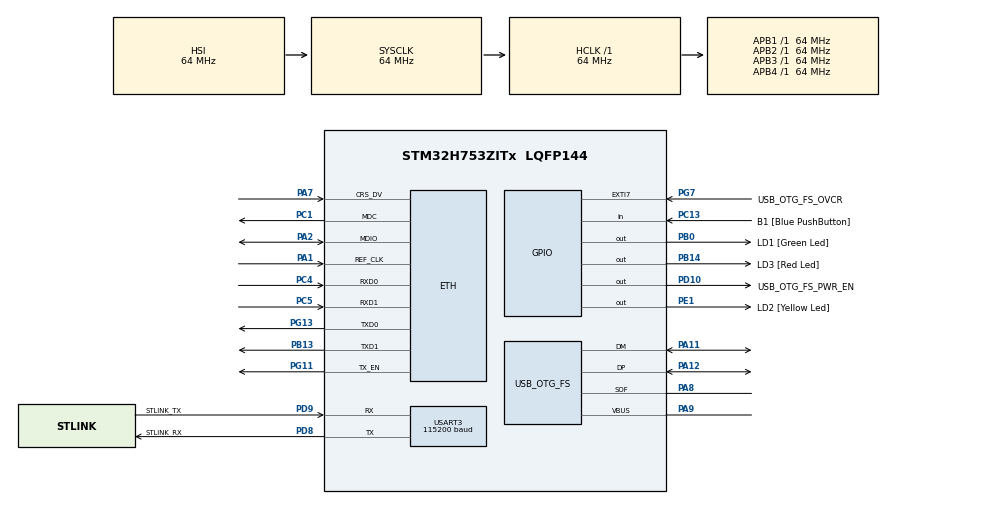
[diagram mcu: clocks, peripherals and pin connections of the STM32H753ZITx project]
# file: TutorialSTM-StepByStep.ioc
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CORTEX_M7.CPU_DCache=Disabled
CORTEX_M7.CPU_ICache=Disabled
CORTEX_M7.MPU_Control=__NULL
ETH.ETH_RX_DESC_CNT=4
ETH.ETH_TX_DESC_CNT=4
ETH.MACAddr=00\:80\:E1\:00\:00\:00
ETH.MediaInterface=HAL_ETH_RMII_MODE
ETH.RxBuffAddress=0x30040200
ETH.RxBuffLen=1524
ETH.RxDescAddress=0x30040000
ETH.TxDescAddress=0x30040060
Mcu.Family=STM32H7
Mcu.Name=STM32H753ZITx
Mcu.Package=LQFP144
NVIC.PriorityGroup=NVIC_PRIORITYGROUP_4
PA1.Mode=RMII
PA1.Signal=ETH_REF_CLK
PA11.Mode=Device_Only
PA11.Signal=USB_OTG_FS_DM
PA12.Mode=Device_Only
PA12.Signal=USB_OTG_FS_DP
PA2.Mode=RMII
PA2.Signal=ETH_MDIO
PA7.Mode=RMII
PA7.Signal=ETH_CRS_DV
PA8.Mode=Activate_SOF_FS
PA8.Signal=USB_OTG_FS_SOF
PA9.Mode=Activate_VBUS
PA9.Signal=USB_OTG_FS_VBUS
PB0.GPIO_Label=LD1 [Green Led]
PB0.Signal=GPIO_Output
PB13.Mode=RMII
PB13.Signal=ETH_TXD1
PB14.GPIO_Label=LD3 [Red Led]
PB14.Signal=GPIO_Output
PC1.Mode=RMII
PC1.Signal=ETH_MDC
PC13.GPIO_Label=B1 [Blue PushButton]
PC13.Signal=GPIO_Input
PC14-OSC32_IN\ (OSC32_IN).Mode=LSE-External-Oscillator
PC14-OSC32_IN\ (OSC32_IN).Signal=RCC_OSC32_IN
PC15-OSC32_OUT\ (OSC32_OUT).Mode=LSE-External-Oscillator
PC15-OSC32_OUT\ (OSC32_OUT).Signal=RCC_OSC32_OUT
PC4.Mode=RMII
PC4.Signal=ETH_RXD0
PC5.Mode=RMII
PC5.Signal=ETH_RXD1
PD10.GPIO_Label=USB_OTG_FS_PWR_EN
PD10.Signal=GPIO_Output
PD8.GPIO_Label=STLINK_RX
PD8.Mode=Asynchronous
PD8.Signal=USART3_TX
PD9.GPIO_Label=STLINK_TX
PD9.Mode=Asynchronous
PD9.Signal=USART3_RX
PE1.GPIO_Label=LD2 [Yellow Led]
PE1.Signal=GPIO_Output
PG11.Mode=RMII
PG11.Signal=ETH_TX_EN
PG13.Mode=RMII
PG13.Signal=ETH_TXD0
PG7.GPIO_Label=USB_OTG_FS_OVCR
PG7.Signal=GPXTI7
PH0-OSC_IN\ (PH0).Mode=HSE-External-Clock-Source
PH0-OSC_IN\ (PH0).Signal=RCC_OSC_IN
PH1-OSC_OUT\ (PH1).Signal=RCC_OSC_OUT
ProjectManager.HeapSize=0x200
ProjectManager.StackSize=0x400
ProjectManager.TargetToolchain=STM32CubeIDE
RCC.ADCFreq_Value=16125000
RCC.APB1Freq_Value=64000000
RCC.APB2Freq_Value=64000000
RCC.APB3Freq_Value=64000000
RCC.APB4Freq_Value=64000000
RCC.CortexFreq_Value=64000000
RCC.DIVM1=1
RCC.DIVN1=24
RCC.DIVQ1=4
RCC.HCLKFreq_Value=64000000
RCC.HSE_VALUE=8000000
RCC.PLLFRACN=0
RCC.PWR_Regulator_Voltage_Scale=PWR_REGULATOR_VOLTAGE_SCALE2
RCC.SYSCLKFreq_VALUE=64000000
RCC.USBFreq_Value=48000000
USART3.AutoBaudRateEnableParam=UART_ADVFEATURE_AUTOBAUDRATE_DISABLE
USART3.BaudRate=115200
USART3.ClockPrescaler=PRESCALER_DIV1
USART3.DMADisableonRxErrorParam=ADVFEATURE_DMA_ENABLEONRXERROR
USART3.DataInvertParam=ADVFEATURE_DATAINV_DISABLE
USART3.FIFOMode=FIFOMODE_DISABLE
USART3.MSBFirstParam=ADVFEATURE_MSBFIRST_DISABLE
USART3.Mode=MODE_TX_RX
USART3.OneBitSampling=UART_ONE_BIT_SAMPLE_DISABLE
USART3.OverSampling=UART_OVERSAMPLING_16
USART3.OverrunDisableParam=ADVFEATURE_OVERRUN_ENABLE
USART3.Parity=PARITY_NONE
USART3.RXFIFOThreshold=RXFIFO_THRESHOLD_1EIGHTHFULL
USART3.RxPinLevelInvertParam=ADVFEATURE_RXINV_DISABLE
USART3.StopBits=STOPBITS_1
USART3.SwapParam=ADVFEATURE_SWAP_DISABLE
USART3.TXFIFOThreshold=TXFIFO_THRESHOLD_1EIGHTHFULL
USART3.TxPinLevelInvertParam=ADVFEATURE_TXINV_DISABLE
USART3.VirtualMode-Asynchronous=VM_ASYNC
USART3.WordLength=WORDLENGTH_8B
USB_OTG_FS.Sof_enable=ENABLE
USB_OTG_FS.VirtualMode=Device_Only
USB_OTG_FS.battery_charging_enable=ENABLE
USB_OTG_FS.low_power_enable=DISABLE
USB_OTG_FS.lpm_enable=DISABLE
USB_OTG_FS.use_dedicated_ep1=DISABLE
USB_OTG_FS.vbus_sensing_enable=ENABLE
board=NUCLEO-H753ZI

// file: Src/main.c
/* USER CODE BEGIN Header */
/**
  ******************************************************************************
  * @file           : main.c
  * @brief          : Main program body
  ******************************************************************************
  * @attention
  *
  * Copyright (c) 2022 STMicroelectronics.
  * All rights reserved.
  *
  * This software is licensed under terms that can be found in the LICENSE file
  * in the root directory of this software component.
  * If no LICENSE file comes with this software, it is provided AS-IS.
  *
  ******************************************************************************
  */
/* USER CODE END Header */
#include "main.h"
#include "string.h"

#if defined ( __ICCARM__ ) /*!< IAR Compiler */

#pragma location=0x30040000
ETH_DMADescTypeDef  DMARxDscrTab[ETH_RX_DESC_CNT]; /* Ethernet Rx DMA Descriptors */
#pragma location=0x30040060
ETH_DMADescTypeDef  DMATxDscrTab[ETH_TX_DESC_CNT]; /* Ethernet Tx DMA Descriptors */
#pragma location=0x30040200
uint8_t Rx_Buff[ETH_RX_DESC_CNT][ETH_MAX_PACKET_SIZE]; /* Ethernet Receive Buffers */

#elif defined ( __CC_ARM )  /* MDK ARM Compiler */

__attribute__((at(0x30040000))) ETH_DMADescTypeDef  DMARxDscrTab[ETH_RX_DESC_CNT]; /* Ethernet Rx DMA Descriptors */
__attribute__((at(0x30040060))) ETH_DMADescTypeDef  DMATxDscrTab[ETH_TX_DESC_CNT]; /* Ethernet Tx DMA Descriptors */
__attribute__((at(0x30040200))) uint8_t Rx_Buff[ETH_RX_DESC_CNT][ETH_MAX_PACKET_SIZE]; /* Ethernet Receive Buffer */

#elif defined ( __GNUC__ ) /* GNU Compiler */

ETH_DMADescTypeDef DMARxDscrTab[ETH_RX_DESC_CNT] __attribute__((section(".RxDecripSection"))); /* Ethernet Rx DMA Descriptors */
ETH_DMADescTypeDef DMATxDscrTab[ETH_TX_DESC_CNT] __attribute__((section(".TxDecripSection")));   /* Ethernet Tx DMA Descriptors */
uint8_t Rx_Buff[ETH_RX_DESC_CNT][ETH_MAX_PACKET_SIZE] __attribute__((section(".RxArraySection"))); /* Ethernet Receive Buffers */

#endif

ETH_TxPacketConfig TxConfig;

ETH_HandleTypeDef heth;

UART_HandleTypeDef huart3;

PCD_HandleTypeDef hpcd_USB_OTG_FS;

void SystemClock_Config(void);
static void MX_GPIO_Init(void);
static void MX_ETH_Init(void);
static void MX_USART3_UART_Init(void);
static void MX_USB_OTG_FS_PCD_Init(void);

int main(void)
{

  /* MCU Configuration--------------------------------------------------------*/

  /* Reset of all peripherals, Initializes the Flash interface and the Systick. */
  HAL_Init();

  /* Configure the system clock */
  SystemClock_Config();

  /* Initialize all configured peripherals */
  MX_GPIO_Init();
  MX_ETH_Init();
  MX_USART3_UART_Init();
  MX_USB_OTG_FS_PCD_Init();

  /* Infinite loop */
  while (1)
  {

    /* USER CODE BEGIN 3 */

	  // 0s - Flash all pins
	  HAL_GPIO_TogglePin(LD1_GPIO_Port, LD1_Pin);
	  HAL_GPIO_TogglePin(LD2_GPIO_Port, LD2_Pin);
	  HAL_GPIO_TogglePin(LD3_GPIO_Port, LD3_Pin);
	  HAL_Delay(100);
	  HAL_GPIO_TogglePin(LD1_GPIO_Port, LD1_Pin);
	  HAL_GPIO_TogglePin(LD2_GPIO_Port, LD2_Pin);
	  HAL_GPIO_TogglePin(LD3_GPIO_Port, LD3_Pin);
	  HAL_Delay(400);

	  // 0.5s - Flash Red
	  HAL_GPIO_TogglePin(LD3_GPIO_Port, LD3_Pin);
	  HAL_Delay(100);
	  HAL_GPIO_TogglePin(LD3_GPIO_Port, LD3_Pin);
	  HAL_Delay(400);

	  // 1.0s - Flash Yellow and Red
	  HAL_GPIO_TogglePin(LD2_GPIO_Port, LD2_Pin);
	  HAL_GPIO_TogglePin(LD3_GPIO_Port, LD3_Pin);
	  HAL_Delay(100);
	  HAL_GPIO_TogglePin(LD2_GPIO_Port, LD2_Pin);
	  HAL_GPIO_TogglePin(LD3_GPIO_Port, LD3_Pin);
	  HAL_Delay(400);

	  // 1.5s - Flash Red
	  HAL_GPIO_TogglePin(LD3_GPIO_Port, LD3_Pin);
	  HAL_Delay(100);
	  HAL_GPIO_TogglePin(LD3_GPIO_Port, LD3_Pin);
	  HAL_Delay(400);

	  // 2.0s - Loop Repeat
  }
  /* USER CODE END 3 */
}

void SystemClock_Config(void)
{
  RCC_OscInitTypeDef RCC_OscInitStruct = {0};
  RCC_ClkInitTypeDef RCC_ClkInitStruct = {0};

  /** Supply configuration update enable
  */
  HAL_PWREx_ConfigSupply(PWR_LDO_SUPPLY);
  /** Configure the main internal regulator output voltage
  */
  __HAL_PWR_VOLTAGESCALING_CONFIG(PWR_REGULATOR_VOLTAGE_SCALE2);

  while(!__HAL_PWR_GET_FLAG(PWR_FLAG_VOSRDY)) {}
  /** Initializes the RCC Oscillators according to the specified parameters
  * in the RCC_OscInitTypeDef structure.
  */
  RCC_OscInitStruct.OscillatorType = RCC_OSCILLATORTYPE_HSI|RCC_OSCILLATORTYPE_HSE;
  RCC_OscInitStruct.HSEState = RCC_HSE_BYPASS;
  RCC_OscInitStruct.HSIState = RCC_HSI_DIV1;
  RCC_OscInitStruct.HSICalibrationValue = RCC_HSICALIBRATION_DEFAULT;
  RCC_OscInitStruct.PLL.PLLState = RCC_PLL_ON;
  RCC_OscInitStruct.PLL.PLLSource = RCC_PLLSOURCE_HSE;
  RCC_OscInitStruct.PLL.PLLM = 1;
  RCC_OscInitStruct.PLL.PLLN = 24;
  RCC_OscInitStruct.PLL.PLLP = 2;
  RCC_OscInitStruct.PLL.PLLQ = 4;
  RCC_OscInitStruct.PLL.PLLR = 2;
  RCC_OscInitStruct.PLL.PLLRGE = RCC_PLL1VCIRANGE_3;
  RCC_OscInitStruct.PLL.PLLVCOSEL = RCC_PLL1VCOWIDE;
  RCC_OscInitStruct.PLL.PLLFRACN = 0;
  if (HAL_RCC_OscConfig(&RCC_OscInitStruct) != HAL_OK)
  {
    Error_Handler();
  }
  /** Initializes the CPU, AHB and APB buses clocks
  */
  RCC_ClkInitStruct.ClockType = RCC_CLOCKTYPE_HCLK|RCC_CLOCKTYPE_SYSCLK
                              |RCC_CLOCKTYPE_PCLK1|RCC_CLOCKTYPE_PCLK2
                              |RCC_CLOCKTYPE_D3PCLK1|RCC_CLOCKTYPE_D1PCLK1;
  RCC_ClkInitStruct.SYSCLKSource = RCC_SYSCLKSOURCE_HSI;
  RCC_ClkInitStruct.SYSCLKDivider = RCC_SYSCLK_DIV1;
  RCC_ClkInitStruct.AHBCLKDivider = RCC_HCLK_DIV1;
  RCC_ClkInitStruct.APB3CLKDivider = RCC_APB3_DIV1;
  RCC_ClkInitStruct.APB1CLKDivider = RCC_APB1_DIV1;
  RCC_ClkInitStruct.APB2CLKDivider = RCC_APB2_DIV1;
  RCC_ClkInitStruct.APB4CLKDivider = RCC_APB4_DIV1;

  if (HAL_RCC_ClockConfig(&RCC_ClkInitStruct, FLASH_LATENCY_1) != HAL_OK)
  {
    Error_Handler();
  }
}

static void MX_ETH_Init(void)
{

   static uint8_t MACAddr[6];

  heth.Instance = ETH;
  MACAddr[0] = 0x00;
  MACAddr[1] = 0x80;
  MACAddr[2] = 0xE1;
  MACAddr[3] = 0x00;
  MACAddr[4] = 0x00;
  MACAddr[5] = 0x00;
  heth.Init.MACAddr = &MACAddr[0];
  heth.Init.MediaInterface = HAL_ETH_RMII_MODE;
  heth.Init.TxDesc = DMATxDscrTab;
  heth.Init.RxDesc = DMARxDscrTab;
  heth.Init.RxBuffLen = 1524;

  if (HAL_ETH_Init(&heth) != HAL_OK)
  {
    Error_Handler();
  }

  memset(&TxConfig, 0 , sizeof(ETH_TxPacketConfig));
  TxConfig.Attributes = ETH_TX_PACKETS_FEATURES_CSUM | ETH_TX_PACKETS_FEATURES_CRCPAD;
  TxConfig.ChecksumCtrl = ETH_CHECKSUM_IPHDR_PAYLOAD_INSERT_PHDR_CALC;
  TxConfig.CRCPadCtrl = ETH_CRC_PAD_INSERT;

}

static void MX_USART3_UART_Init(void)
{

  huart3.Instance = USART3;
  huart3.Init.BaudRate = 115200;
  huart3.Init.WordLength = UART_WORDLENGTH_8B;
  huart3.Init.StopBits = UART_STOPBITS_1;
  huart3.Init.Parity = UART_PARITY_NONE;
  huart3.Init.Mode = UART_MODE_TX_RX;
  huart3.Init.HwFlowCtl = UART_HWCONTROL_NONE;
  huart3.Init.OverSampling = UART_OVERSAMPLING_16;
  huart3.Init.OneBitSampling = UART_ONE_BIT_SAMPLE_DISABLE;
  huart3.Init.ClockPrescaler = UART_PRESCALER_DIV1;
  huart3.AdvancedInit.AdvFeatureInit = UART_ADVFEATURE_NO_INIT;
  if (HAL_UART_Init(&huart3) != HAL_OK)
  {
    Error_Handler();
  }
  if (HAL_UARTEx_SetTxFifoThreshold(&huart3, UART_TXFIFO_THRESHOLD_1_8) != HAL_OK)
  {
    Error_Handler();
  }
  if (HAL_UARTEx_SetRxFifoThreshold(&huart3, UART_RXFIFO_THRESHOLD_1_8) != HAL_OK)
  {
    Error_Handler();
  }
  if (HAL_UARTEx_DisableFifoMode(&huart3) != HAL_OK)
  {
    Error_Handler();
  }

}

static void MX_USB_OTG_FS_PCD_Init(void)
{

  hpcd_USB_OTG_FS.Instance = USB_OTG_FS;
  hpcd_USB_OTG_FS.Init.dev_endpoints = 9;
  hpcd_USB_OTG_FS.Init.speed = PCD_SPEED_FULL;
  hpcd_USB_OTG_FS.Init.dma_enable = DISABLE;
  hpcd_USB_OTG_FS.Init.phy_itface = PCD_PHY_EMBEDDED;
  hpcd_USB_OTG_FS.Init.Sof_enable = ENABLE;
  hpcd_USB_OTG_FS.Init.low_power_enable = DISABLE;
  hpcd_USB_OTG_FS.Init.lpm_enable = DISABLE;
  hpcd_USB_OTG_FS.Init.battery_charging_enable = ENABLE;
  hpcd_USB_OTG_FS.Init.vbus_sensing_enable = ENABLE;
  hpcd_USB_OTG_FS.Init.use_dedicated_ep1 = DISABLE;
  if (HAL_PCD_Init(&hpcd_USB_OTG_FS) != HAL_OK)
  {
    Error_Handler();
  }

}

static void MX_GPIO_Init(void)
{
  GPIO_InitTypeDef GPIO_InitStruct = {0};

  /* GPIO Ports Clock Enable */
  __HAL_RCC_GPIOC_CLK_ENABLE();
  __HAL_RCC_GPIOH_CLK_ENABLE();
  __HAL_RCC_GPIOA_CLK_ENABLE();
  __HAL_RCC_GPIOB_CLK_ENABLE();
  __HAL_RCC_GPIOD_CLK_ENABLE();
  __HAL_RCC_GPIOG_CLK_ENABLE();
  __HAL_RCC_GPIOE_CLK_ENABLE();

  /*Configure GPIO pin Output Level */
  HAL_GPIO_WritePin(GPIOB, LD1_Pin|LD3_Pin, GPIO_PIN_RESET);

  /*Configure GPIO pin Output Level */
  HAL_GPIO_WritePin(USB_OTG_FS_PWR_EN_GPIO_Port, USB_OTG_FS_PWR_EN_Pin, GPIO_PIN_RESET);

  /*Configure GPIO pin Output Level */
  HAL_GPIO_WritePin(LD2_GPIO_Port, LD2_Pin, GPIO_PIN_RESET);

  /*Configure GPIO pin : B1_Pin */
  GPIO_InitStruct.Pin = B1_Pin;
  GPIO_InitStruct.Mode = GPIO_MODE_INPUT;
  GPIO_InitStruct.Pull = GPIO_NOPULL;
  HAL_GPIO_Init(B1_GPIO_Port, &GPIO_InitStruct);

  /*Configure GPIO pins : LD1_Pin LD3_Pin */
  GPIO_InitStruct.Pin = LD1_Pin|LD3_Pin;
  GPIO_InitStruct.Mode = GPIO_MODE_OUTPUT_PP;
  GPIO_InitStruct.Pull = GPIO_NOPULL;
  GPIO_InitStruct.Speed = GPIO_SPEED_FREQ_LOW;
  HAL_GPIO_Init(GPIOB, &GPIO_InitStruct);

  /*Configure GPIO pin : USB_OTG_FS_PWR_EN_Pin */
  GPIO_InitStruct.Pin = USB_OTG_FS_PWR_EN_Pin;
  GPIO_InitStruct.Mode = GPIO_MODE_OUTPUT_PP;
  GPIO_InitStruct.Pull = GPIO_NOPULL;
  GPIO_InitStruct.Speed = GPIO_SPEED_FREQ_LOW;
  HAL_GPIO_Init(USB_OTG_FS_PWR_EN_GPIO_Port, &GPIO_InitStruct);

  /*Configure GPIO pin : USB_OTG_FS_OVCR_Pin */
  GPIO_InitStruct.Pin = USB_OTG_FS_OVCR_Pin;
  GPIO_InitStruct.Mode = GPIO_MODE_IT_RISING;
  GPIO_InitStruct.Pull = GPIO_NOPULL;
  HAL_GPIO_Init(USB_OTG_FS_OVCR_GPIO_Port, &GPIO_InitStruct);

  /*Configure GPIO pin : LD2_Pin */
  GPIO_InitStruct.Pin = LD2_Pin;
  GPIO_InitStruct.Mode = GPIO_MODE_OUTPUT_PP;
  GPIO_InitStruct.Pull = GPIO_NOPULL;
  GPIO_InitStruct.Speed = GPIO_SPEED_FREQ_LOW;
  HAL_GPIO_Init(LD2_GPIO_Port, &GPIO_InitStruct);

}

void Error_Handler(void)
{
  __disable_irq();
  while (1)
  {
  }
}
